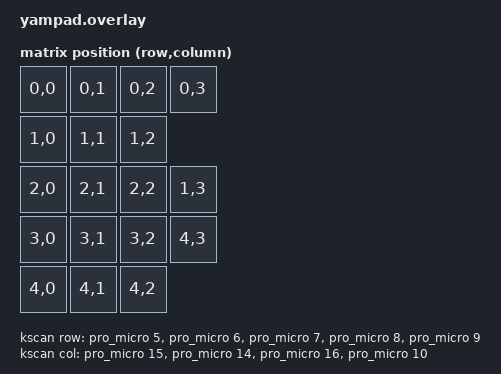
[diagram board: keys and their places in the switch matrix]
/*
 * Copyright (c) 2025 The ZMK Contributors
 *
 * SPDX-License-Identifier: MIT
 */

#include <dt-bindings/zmk/matrix_transform.h>


/ {
    chosen {
        zephyr,display = &oled;
        zmk,kscan = &kscan;
        zmk,matrix-transform = &default_transform;
    };

    kscan: kscan {
        compatible = "zmk,kscan-gpio-matrix";
        wakeup-source;

        diode-direction = "col2row";
        row-gpios
            = <&pro_micro 5 (GPIO_ACTIVE_HIGH | GPIO_PULL_DOWN)>
            , <&pro_micro 6 (GPIO_ACTIVE_HIGH | GPIO_PULL_DOWN)>
            , <&pro_micro 7 (GPIO_ACTIVE_HIGH | GPIO_PULL_DOWN)>
            , <&pro_micro 8 (GPIO_ACTIVE_HIGH | GPIO_PULL_DOWN)>
            , <&pro_micro 9 (GPIO_ACTIVE_HIGH | GPIO_PULL_DOWN)>
            ;
        col-gpios
            = <&pro_micro 15  GPIO_ACTIVE_HIGH>
            , <&pro_micro 14  GPIO_ACTIVE_HIGH>
            , <&pro_micro 16  GPIO_ACTIVE_HIGH>
            , <&pro_micro 10  GPIO_ACTIVE_HIGH>
            ;
    };

    default_transform: keymap_transform_0 {
            compatible = "zmk,matrix-transform";
            columns = <4>;
            rows = <5>;
            map = <
                RC(0,0) RC(0,1) RC(0,2) RC(0,3)
                RC(1,0) RC(1,1) RC(1,2) 
                RC(2,0) RC(2,1) RC(2,2) RC(1,3)
                RC(3,0) RC(3,1) RC(3,2) RC(4,3)
                RC(4,0) RC(4,1) RC(4,2) 
        >;
    };

};

&pro_micro_i2c {
    status = "okay";

    oled: ssd1306@3c {
        compatible = "solomon,ssd1306fb";
        reg = <0x3c>;
        width = <128>;
        height = <32>;
        segment-offset = <0>;
        page-offset = <0>;
        display-offset = <0>;
        multiplex-ratio = <31>;
        segment-remap;
        com-invdir;
        com-sequential;
        inversion-on;
        prechargep = <0x22>;
    };
};
